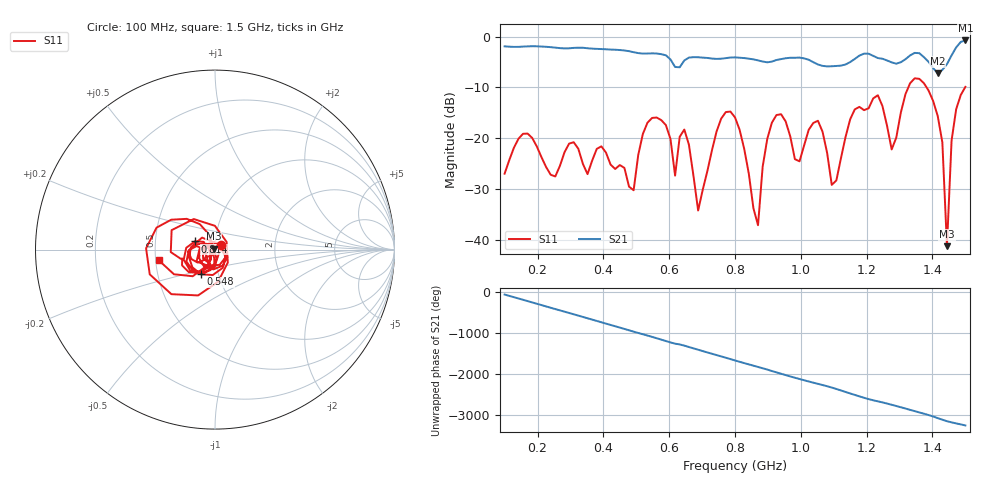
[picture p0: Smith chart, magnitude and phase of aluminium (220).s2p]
! NanoVNA-App
! Date: 2025-09-25 14:56:59
! Start: 100MHz Stop: 1,5GHz Points: 101
! S-Parameter data: F S11 S21 S12 S22
# Hz S RI R 50
!  Frequency  S11_Real  S11_Imag  S21_Real  S21_Imag  S12_Real  S12_Imag  S22_Real  S22_Imag
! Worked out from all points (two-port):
!   101 points, 100 MHz to 1.5 GHz, reference 50 ohm
!   highest |S21| = -0.76 dB at 1.5 GHz (marker M1); lowest = -7.2 dB at 1.416 GHz (marker M2)
!   |S21| within 3 dB of the highest: start of sweep to 591.4 MHz; 1.457 GHz to end of sweep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
!   lowest |S11| = -41.2 dB at 1.444 GHz (marker M3), VSWR 1.02, Z = 49.3 + j0.472 ohm
!   |S11| at or under -10 dB: start of sweep to 1.327 GHz; 1.382 GHz to 1.499 GHz (116.9 MHz wide, 8.11 % of centre)
!   S12 and S22 are empty: the file has one direction only
!   S11 on the Smith chart (normalised r, x): 100 MHz: 1.07, +0.06; 548 MHz: 0.82, -0.23; 814 MHz: 0.80, +0.07; 1.5 GHz: 0.52, -0.07
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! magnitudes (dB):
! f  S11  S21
! 100 MHz  -27.0  -1.9
! 338 MHz  -25.1  -2.2
! 492 MHz  -30.2  -3.1
! 548 MHz  -16.0  -3.3
! 576 MHz  -16.4  -3.5
! 618 MHz  -27.3  -6.0
! 646 MHz  -18.3  -4.7
! 688 MHz  -34.2  -4.1
! 800 MHz  -15.9  -4.1
! 814 MHz  -18.3  -4.2
! 870 MHz  -37.1  -4.7
! 912 MHz  -16.9  -4.9
! 1.038 GHz  -17.0  -5.0
! 1.094 GHz  -29.2  -5.8
! 1.234 GHz  -11.5  -4.2
! 1.276 GHz  -22.2  -5.1
! 1.346 GHz  -8.2  -3.2
! 1.416 GHz  -15.6  -7.2
! 1.43 GHz  -20.8  -6.6
! 1.444 GHz  -41.2  -5.4
! 1.458 GHz  -20.5  -3.7
! 1.5 GHz  -9.9  -0.8
